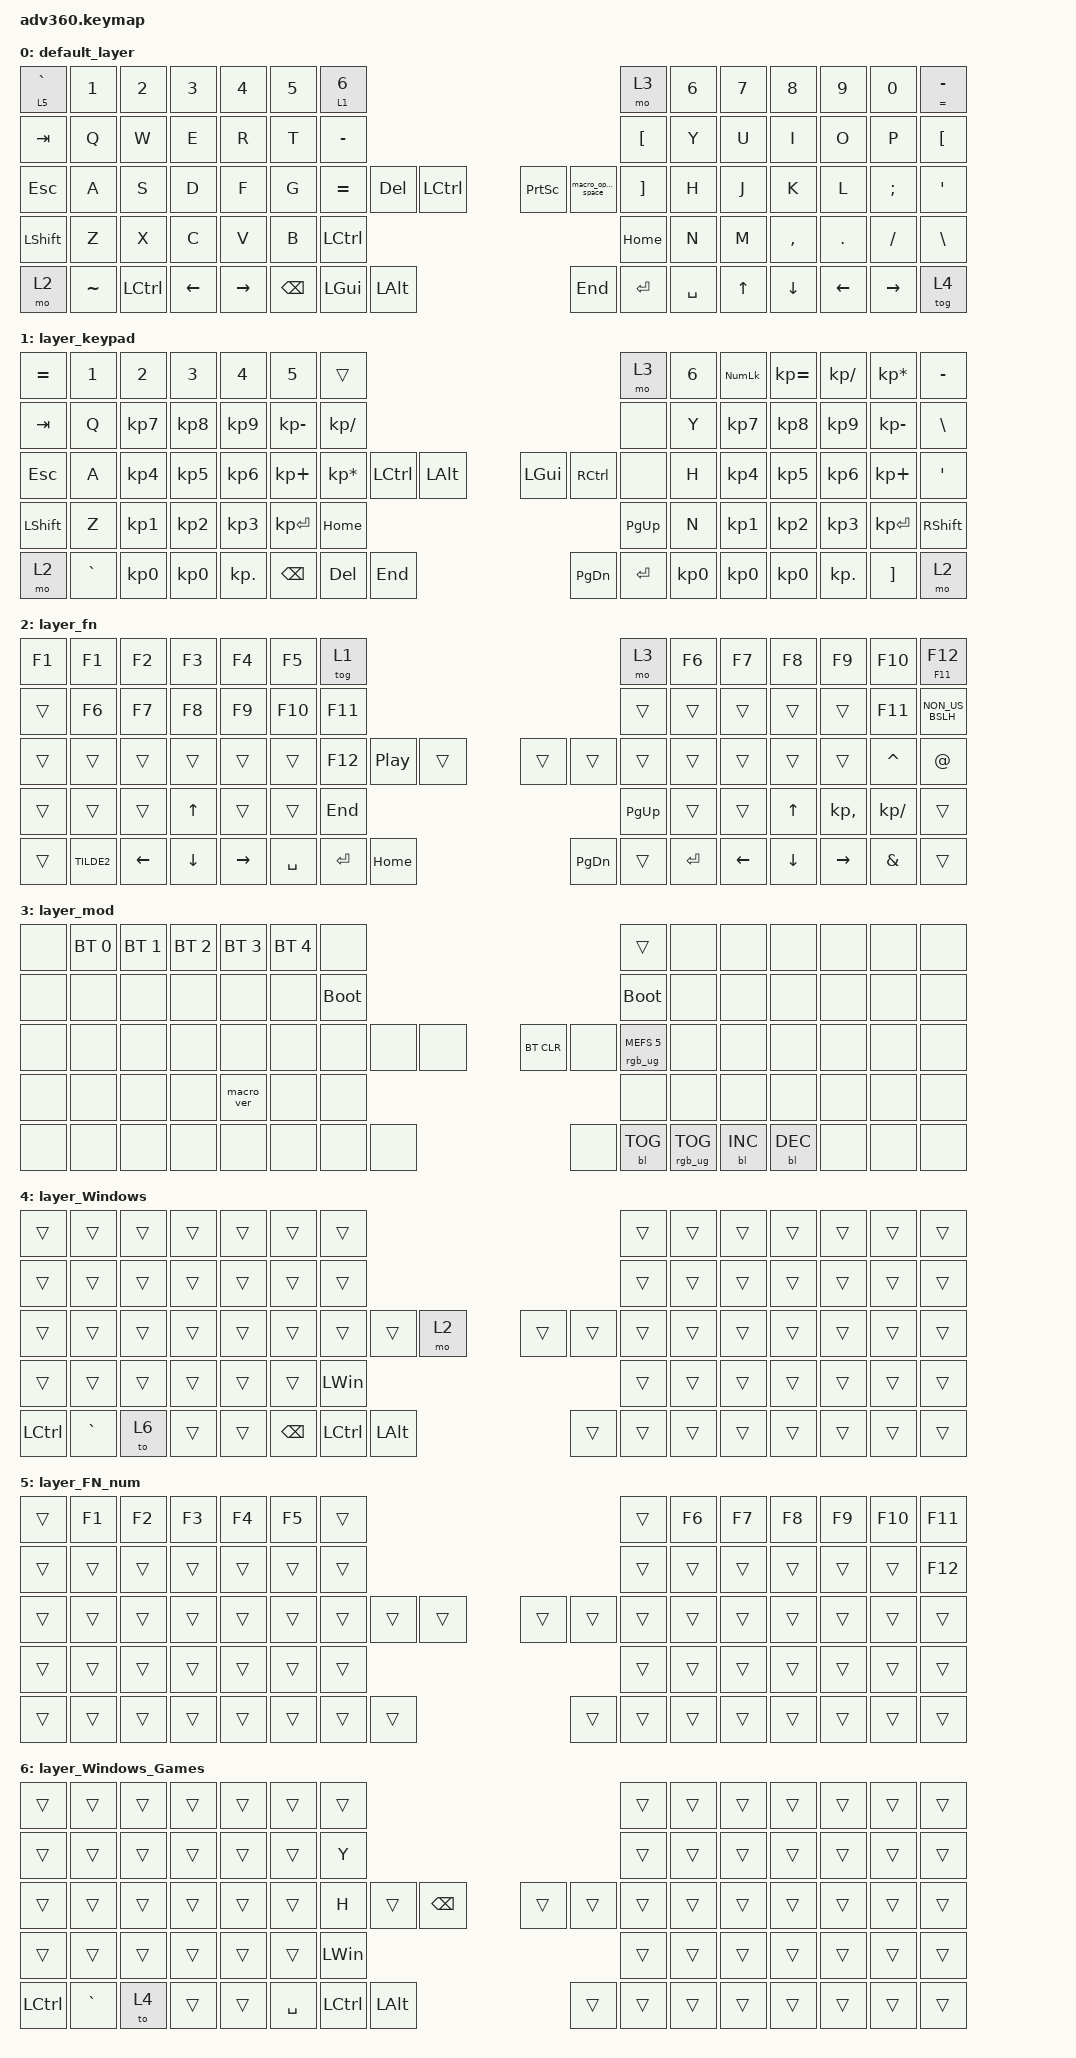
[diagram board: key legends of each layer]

/*
 * Copyright (c) 2020 The ZMK Contributors
 *
 * SPDX-License-Identifier: MIT
 */


/* THIS FILE WAS GENERATED!
 *
 * This file was generated automatically. You may or may not want to
 * edit it directly.
 */

#include <behaviors.dtsi>
#include <dt-bindings/zmk/keys.h>
#include <dt-bindings/zmk/bt.h>
#include <dt-bindings/zmk/rgb.h>
#include <dt-bindings/zmk/backlight.h>

/ {
  behaviors {
    #include "macros.dtsi"
    #include "version.dtsi"

    hm: homerow_mods {
        compatible = "zmk,behavior-hold-tap";
        label = "HOMEROW_MODS";
        #binding-cells = <2>;
        tapping-term-ms = <200>;
        quick_tap_ms = <175>;
        flavor = "tap-preferred";
        bindings = <&kp>, <&kp>;
    };
  };

    keymap {
        compatible = "zmk,keymap";


        default_layer {
            bindings = <
 &lt 5 GRAVE     &kp N1     &kp N2    &kp N3     &kp N4  &kp N5            &lt 1 NUMBER_6                                                                                 &mo 3  &kp N6  &kp N7     &kp N8    &kp N9     &kp N0  &mt EQUAL MINUS
     &kp TAB      &kp Q      &kp W     &kp E      &kp R   &kp T                 &kp MINUS                                                                              &kp LBKT   &kp Y   &kp U      &kp I     &kp O      &kp P         &kp LBKT
     &kp ESC      &kp A      &kp S     &kp D      &kp F   &kp G                 &kp EQUAL   &kp DEL  &kp LCTRL                  &kp PRINTSCREEN  &macro_option_space   &kp RBKT   &kp H   &kp J      &kp K     &kp L   &kp SEMI          &kp SQT
   &kp LSHFT      &kp Z      &kp X     &kp C      &kp V   &kp B                                      &kp LCTRL                         &kp HOME                                   &kp N   &kp M  &kp COMMA   &kp DOT   &kp FSLH    &kp BACKSLASH
       &mo 2  &kp TILDE  &kp LCTRL  &kp LEFT  &kp RIGHT                     &kp BACKSPACE  &kp LGUI   &kp LALT                          &kp END            &kp ENTER  &kp SPACE          &kp UP   &kp DOWN  &kp LEFT  &kp RIGHT           &tog 4
            >;
        };

        layer_keypad {
            bindings = <
 &kp EQUAL     &kp N1           &kp N2     &kp N3      &kp N4        &kp N5                     &trans                                                                 &mo 3  &kp N6  &kp KP_NUM  &kp KP_EQUAL  &kp KP_DIVIDE  &kp KP_MULTIPLY  &kp MINUS
   &kp TAB      &kp Q        &kp KP_N7  &kp KP_N8   &kp KP_N9  &kp KP_MINUS               &kp KP_SLASH                                                                 &none   &kp Y   &kp KP_N7     &kp KP_N8      &kp KP_N9     &kp KP_MINUS   &kp BSLH
   &kp ESC      &kp A        &kp KP_N4  &kp KP_N5   &kp KP_N6   &kp KP_PLUS            &kp KP_MULTIPLY  &kp LCTRL  &kp LALT                   &kp LGUI  &kp RCTRL      &none   &kp H   &kp KP_N4     &kp KP_N5      &kp KP_N6      &kp KP_PLUS    &kp SQT
 &kp LSHFT      &kp Z        &kp KP_N1  &kp KP_N2   &kp KP_N3  &kp KP_ENTER                                        &kp HOME                  &kp PG_UP                         &kp N   &kp KP_N1     &kp KP_N2      &kp KP_N3     &kp KP_ENTER  &kp RSHFT
     &mo 2  &kp GRAVE  &kp KP_NUMBER_0  &kp KP_N0  &kp KP_DOT                                 &kp BSPC    &kp DEL   &kp END                  &kp PG_DN  &kp ENTER  &kp KP_N0           &kp KP_N0     &kp KP_N0     &kp KP_DOT         &kp RBKT      &mo 2
            >;
        };

        layer_fn {
            bindings = <
 &kp F1      &kp F1    &kp F2    &kp F3     &kp F4   &kp F5               &tog 1                                                                     &mo 3  &kp F6    &kp F7    &kp F8        &kp F9        &kp F10      &mt F11 F12
 &trans      &kp F6    &kp F7    &kp F8     &kp F9  &kp F10              &kp F11                                                                    &trans  &trans    &trans    &trans        &trans        &kp F11  &kp NON_US_BSLH
 &trans      &trans    &trans    &trans     &trans   &trans              &kp F12  &kp C_PLAY_PAUSE    &trans                     &trans  &trans     &trans  &trans    &trans    &trans        &trans      &kp CARET      &kp AT_SIGN
 &trans      &trans    &trans    &kp UP     &trans   &trans                                          &kp END                  &kp PG_UP                     &trans    &trans    &kp UP  &kp KP_COMMA   &kp KP_SLASH           &trans
 &trans  &kp TILDE2  &kp LEFT  &kp DOWN  &kp RIGHT                     &kp SPACE         &kp ENTER  &kp HOME                  &kp PG_DN  &trans  &kp ENTER          &kp LEFT  &kp DOWN     &kp RIGHT  &kp AMPERSAND           &trans
            >;
        };

        layer_mod {
            bindings = <
  &none  &bt BT_SEL 0  &bt BT_SEL 1  &bt BT_SEL 2  &bt BT_SEL 3  &bt BT_SEL 4                  &none                                                                          &trans   &none       &none       &none   &none   &none   &none
  &none         &none         &none         &none         &none         &none            &bootloader                                                                     &bootloader   &none       &none       &none   &none   &none   &none
  &none         &none         &none         &none         &none         &none                  &none   &none   &none                  &bt BT_CLR       &none  &rgb_ug RGB_MEFS_CMD 5   &none       &none       &none   &none   &none   &none
  &none         &none         &none         &none    &macro_ver         &none                                  &none                       &none                                       &none       &none       &none   &none   &none   &none
  &none         &none         &none         &none         &none                                &none   &none   &none                       &none  &bl BL_TOG         &rgb_ug RGB_TOG          &bl BL_INC  &bl BL_DEC   &none   &none   &none
            >;
        };

        layer_Windows {
            bindings = <
    &trans     &trans  &trans  &trans  &trans  &trans                   &trans                                                                  &trans  &trans  &trans  &trans  &trans  &trans  &trans
    &trans     &trans  &trans  &trans  &trans  &trans                   &trans                                                                  &trans  &trans  &trans  &trans  &trans  &trans  &trans
    &trans     &trans  &trans  &trans  &trans  &trans                   &trans            &trans         &mo 2                  &trans  &trans  &trans  &trans  &trans  &trans  &trans  &trans  &trans
    &trans     &trans  &trans  &trans  &trans  &trans                                             &kp LEFT_WIN                  &trans                  &trans  &trans  &trans  &trans  &trans  &trans
 &kp LCTRL  &kp GRAVE   &to 6  &trans  &trans                    &kp BACKSPACE  &kp LEFT_CONTROL  &kp LEFT_ALT                  &trans  &trans  &trans          &trans  &trans  &trans  &trans  &trans
            >;
        };

        layer_FN_num {
            bindings = <
 &trans  &kp F1  &kp F2  &kp F3  &kp F4  &kp F5            &trans                                                  &trans  &kp F6  &kp F7  &kp F8  &kp F9  &kp F10  &kp F11
 &trans  &trans  &trans  &trans  &trans  &trans            &trans                                                  &trans  &trans  &trans  &trans  &trans   &trans  &kp F12
 &trans  &trans  &trans  &trans  &trans  &trans            &trans  &trans  &trans                  &trans  &trans  &trans  &trans  &trans  &trans  &trans   &trans   &trans
 &trans  &trans  &trans  &trans  &trans  &trans                            &trans                  &trans                  &trans  &trans  &trans  &trans   &trans   &trans
 &trans  &trans  &trans  &trans  &trans                    &trans  &trans  &trans                  &trans  &trans  &trans          &trans  &trans  &trans   &trans   &trans
            >;
        };

        layer_Windows_Games {
            bindings = <
    &trans     &trans  &trans  &trans  &trans  &trans               &trans                                                            &trans  &trans  &trans  &trans  &trans  &trans  &trans
    &trans     &trans  &trans  &trans  &trans  &trans                &kp Y                                                            &trans  &trans  &trans  &trans  &trans  &trans  &trans
    &trans     &trans  &trans  &trans  &trans  &trans                &kp H     &trans  &kp BACKSPACE                  &trans  &trans  &trans  &trans  &trans  &trans  &trans  &trans  &trans
    &trans     &trans  &trans  &trans  &trans  &trans                                   &kp LEFT_WIN                  &trans                  &trans  &trans  &trans  &trans  &trans  &trans
 &kp LCTRL  &kp GRAVE   &to 4  &trans  &trans                    &kp SPACE  &kp LCTRL   &kp LEFT_ALT                  &trans  &trans  &trans          &trans  &trans  &trans  &trans  &trans
            >;
        };

    };
};
